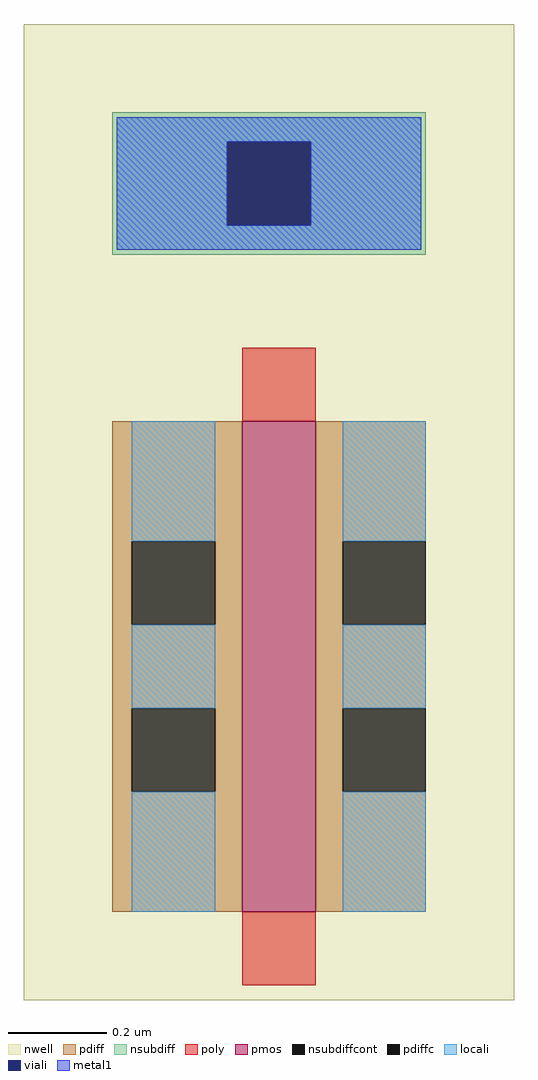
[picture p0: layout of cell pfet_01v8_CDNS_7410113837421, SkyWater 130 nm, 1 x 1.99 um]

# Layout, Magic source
magic
tech sky130A
magscale 1 2
<< nwell >>
rect -89 -36 111 362
<< pmos >>
rect 0 0 30 200
<< pdiff >>
rect -53 151 0 200
rect -53 117 -45 151
rect -11 117 0 151
rect -53 83 0 117
rect -53 49 -45 83
rect -11 49 0 83
rect -53 0 0 49
rect 30 151 75 200
rect 30 117 41 151
rect 30 83 75 117
rect 30 49 41 83
rect 30 0 75 49
<< pdiffc >>
rect -45 117 -11 151
rect -45 49 -11 83
rect 41 117 75 151
rect 41 49 75 83
<< nsubdiff >>
rect -53 314 75 326
rect -53 280 -6 314
rect 28 280 75 314
rect -53 268 75 280
<< nsubdiffcont >>
rect -6 280 28 314
<< poly >>
rect 0 200 30 230
rect 0 -30 30 0
<< locali >>
rect -51 314 73 324
rect -51 280 -6 314
rect 28 280 73 314
rect -51 270 73 280
rect -45 151 -11 200
rect -45 83 -11 117
rect -45 0 -11 49
rect 41 151 75 200
rect 41 83 75 117
rect 41 0 75 49
<< viali >>
rect -6 280 28 314
<< metal1 >>
rect -51 314 73 324
rect -51 280 -6 314
rect 28 280 73 314
rect -51 270 73 280
<< end >>
